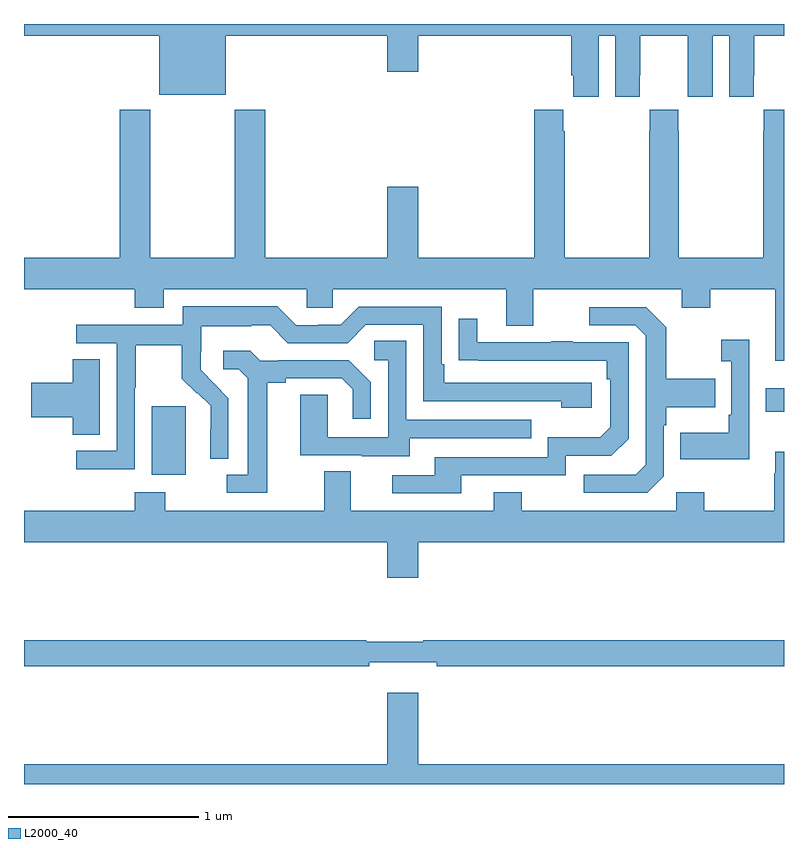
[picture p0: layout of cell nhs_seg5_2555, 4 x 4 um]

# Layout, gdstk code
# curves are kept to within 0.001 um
import gdstk
lib = gdstk.Library(unit=1e-6, precision=1e-09)
def R(c, l, rs):  # rectangles x0, y0, x1, y1
    for r in rs: c.add(gdstk.rectangle(r[:2], r[2:], *l))
def P(c, l, *ps):  # polygons
    for p in ps: c.add(gdstk.Polygon(p, *l))
L2000_40 = (2000, 40)

nhs_seg5_2555 = lib.new_cell('nhs_seg5_2555')
R(nhs_seg5_2555, L2000_40, [(259.673,878.426,259.852,878.787), (262.905,878.759,263,878.881)])
P(nhs_seg5_2555, L2000_40, [(262.024,880.736),(262.112,880.736),(262.112,880.416),(262.242,880.416),(262.242,880.528),(262.243,880.528),(262.243,880.736),(262.493,880.736),(262.493,880.528),(262.494,880.528),(262.494,880.416),(262.624,880.416),(262.624,880.736),(262.712,880.736),(262.712,880.416),(262.842,880.416),(262.842,880.528),(262.843,880.528),(262.843,880.736),(263,880.736),(263,880.799),(259,880.799),(259,880.736),(259.712,880.736),(259.712,880.427),(260.062,880.427),(260.062,880.736),(260.912,880.736),(260.912,880.548),(261.076,880.548),(261.076,880.736),(261.881,880.736),(261.881,880.528),(261.89,880.528),(261.89,880.416),(262.024,880.416)],
  [(263,880.348),(262.893,880.348),(262.893,880.235),(262.891,880.235),(262.891,879.568),(262.446,879.568),(262.446,880.235),(262.443,880.235),(262.443,880.348),(262.293,880.348),(262.293,880.235),(262.291,880.235),(262.291,879.568),(261.846,879.568),(261.846,880.235),(261.839,880.235),(261.839,880.348),(261.686,880.348),(261.686,879.568),(261.076,879.568),(261.076,879.943),(260.912,879.943),(260.912,879.568),(260.27,879.568),(260.27,880.348),(260.11,880.348),(260.11,879.568),(259.665,879.568),(259.665,880.348),(259.505,880.348),(259.505,879.568),(259,879.568),(259,879.404),(259.583,879.404),(259.583,879.305),(259.735,879.305),(259.735,879.404),(260.487,879.404),(260.487,879.306),(260.625,879.306),(260.625,879.404),(261.539,879.404),(261.539,879.21),(261.679,879.21),(261.679,879.404),(262.463,879.404),(262.463,879.305),(262.611,879.305),(262.611,879.404),(262.955,879.404),(262.955,879.027),(263,879.027)],
  [(259.584,878.884),(259.587,878.884),(259.587,879.108),(259.831,879.108),(259.831,878.933),(259.908,878.856),(259.911,878.859),(259.982,878.789),(259.982,878.666),(259.98,878.666),(259.98,878.512),(260.076,878.512),(260.076,878.83),(259.93,878.978),(259.93,879.075),(259.932,879.075),(259.932,879.209),(260.195,879.209),(260.195,879.213),(260.295,879.213),(260.388,879.12),(260.703,879.12),(260.799,879.216),(261.102,879.216),(261.102,878.814),(261.827,878.814),(261.827,878.78),(261.988,878.78),(261.988,878.91),(261.211,878.91),(261.211,879.007),(261.198,879.007),(261.198,879.312),(260.763,879.312),(260.667,879.216),(260.549,879.216),(260.549,879.213),(260.433,879.213),(260.333,879.313),(259.836,879.313),(259.836,879.216),(259.275,879.216),(259.275,879.12),(259.488,879.12),(259.488,878.553),(259.275,878.553),(259.275,878.455),(259.584,878.455)],
  [(262.368,878.418),(262.368,878.687),(262.381,878.687),(262.381,878.783),(262.637,878.783),(262.637,878.931),(262.381,878.931),(262.381,879.203),(262.275,879.309),(261.975,879.309),(261.975,879.213),(262.218,879.213),(262.272,879.159),(262.272,878.478),(262.221,878.427),(261.945,878.427),(261.945,878.331),(262.281,878.331)],
  [(261.301,878.424),(261.852,878.424),(261.852,878.526),(262.092,878.526),(262.182,878.616),(262.182,879.123),(261.887,879.123),(261.887,879.128),(261.775,879.128),(261.775,879.123),(261.385,879.123),(261.385,879.247),(261.289,879.247),(261.289,879.028),(262.066,879.027),(262.066,878.93),(262.086,878.93),(262.086,878.676),(262.033,878.623),(261.756,878.623),(261.756,878.52),(261.161,878.52),(261.161,878.424),(260.937,878.424),(260.937,878.328),(261.301,878.328)],
  [(262.818,879.136),(262.671,879.136),(262.671,879.023),(262.722,879.023),(262.722,878.743),(262.71,878.743),(262.71,878.647),(262.453,878.647),(262.453,878.507),(262.818,878.507)],
  [(261.031,878.619),(261.671,878.619),(261.671,878.715),(261.012,878.715),(261.012,879.131),(260.844,879.131),(260.844,879.03),(260.916,879.03),(260.916,878.625),(260.598,878.625),(260.598,878.849),(260.453,878.849),(260.453,878.529),(260.777,878.529),(260.777,878.525),(261.031,878.525)],
  [(260.281,878.912),(260.377,878.912),(260.377,878.934),(260.672,878.934),(260.729,878.877),(260.729,878.721),(260.826,878.721),(260.826,878.914),(260.71,879.03),(260.338,879.03),(260.338,879.027),(260.244,879.027),(260.192,879.079),(260.049,879.079),(260.049,878.982),(260.13,878.982),(260.177,878.935),(260.177,878.427),(260.067,878.427),(260.067,878.331),(260.281,878.331)],
  [(259.399,879.035),(259.256,879.035),(259.256,878.912),(259.038,878.912),(259.038,878.729),(259.256,878.729),(259.256,878.638),(259.399,878.638)],
  [(261.076,878.072),(263,878.072),(263,878.548),(262.955,878.548),(262.955,878.435),(262.948,878.435),(262.948,878.236),(262.581,878.236),(262.581,878.335),(262.434,878.335),(262.434,878.236),(261.621,878.236),(261.621,878.335),(261.473,878.335),(261.473,878.236),(260.719,878.236),(260.719,878.444),(260.579,878.444),(260.579,878.236),(259.743,878.236),(259.743,878.335),(259.583,878.335),(259.583,878.236),(259,878.236),(259,878.072),(260.912,878.072),(260.912,877.884),(261.076,877.884)],
  [(260.816,877.439),(261.172,877.439),(261.172,877.42),(263,877.42),(263,877.556),(261.1,877.556),(261.1,877.549),(260.8,877.549),(260.8,877.556),(259,877.556),(259,877.42),(260.816,877.42)],
  [(263,876.904),(261.076,876.904),(261.076,877.279),(260.912,877.279),(260.912,876.904),(259,876.904),(259,876.799),(263,876.799)])

lib.write_gds('nhs_seg5_2555.gds')
